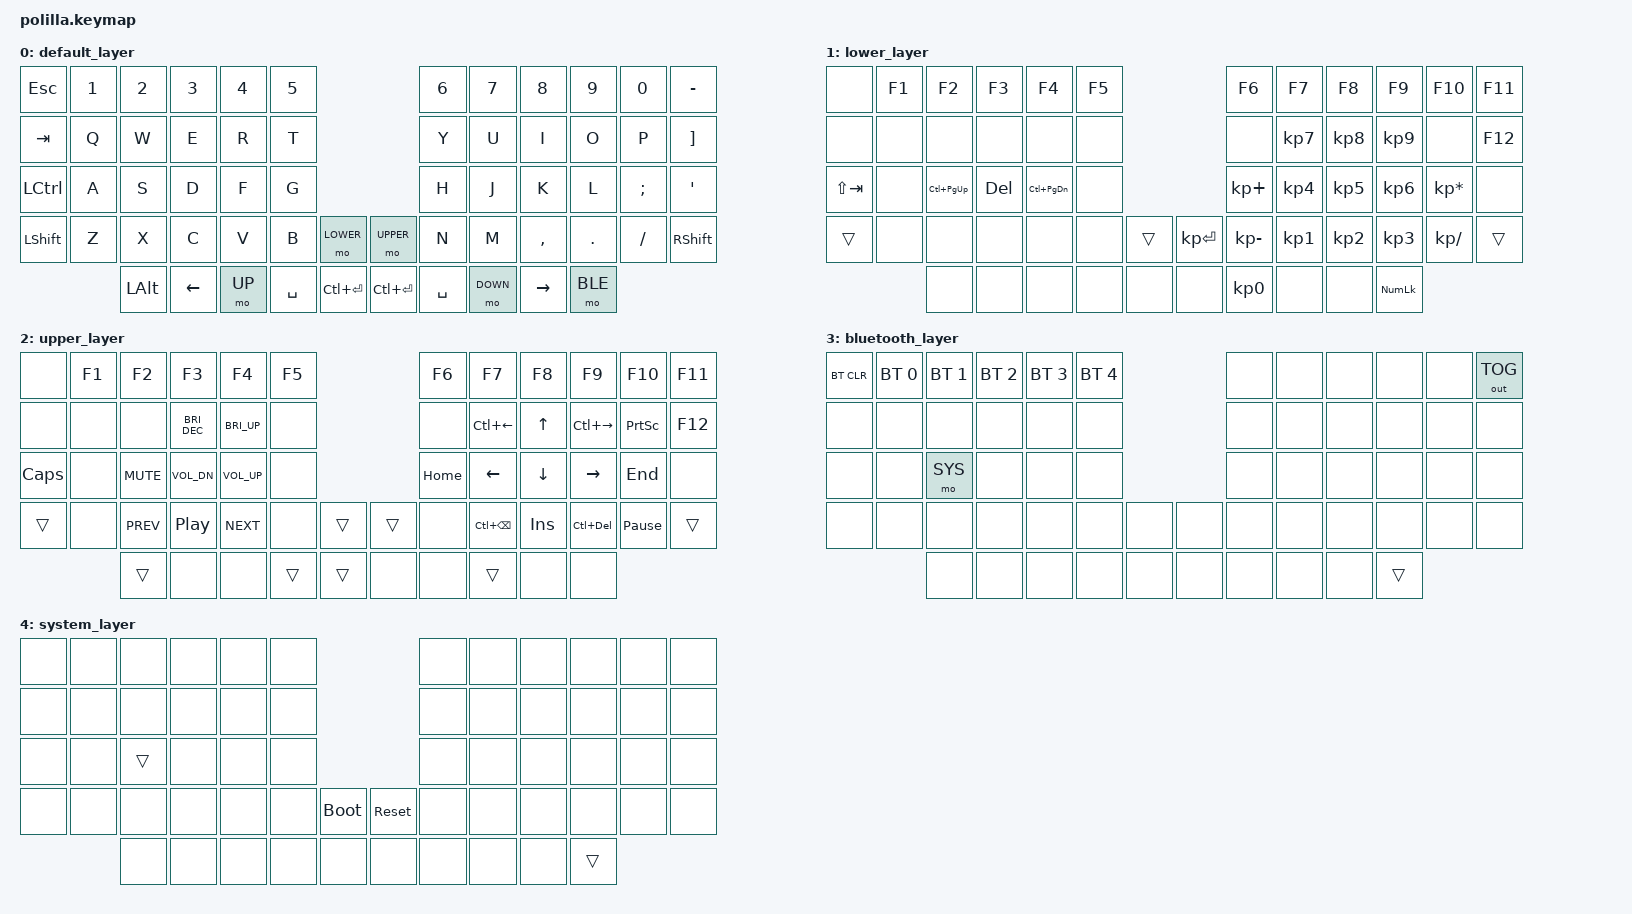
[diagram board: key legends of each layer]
/*
 * Polilla board configuration
 *
 * Copyright (c) 2020 elagil
 * SPDX-License-Identifier: MIT
 */

#include <behaviors.dtsi>
#include <dt-bindings/zmk/keys.h>
#include <dt-bindings/zmk/bt.h>
#include <dt-bindings/zmk/outputs.h>

#define LOWER 1
#define UPPER 2
#define BLE 3
#define SYS 4

/ {
    keymap {
        compatible = "zmk,keymap";

        default_layer {
// ,-----------------------------------,                  ,-----------------------------------,
// | ESC |  1  |  2  |  3  |  4  |  5  |                  |  6  |  7  |  8  |  9  |  0  |  -  |
// | TAB |  Q  |  W  |  E  |  R  |  T  |                  |  Y  |  U  |  I  |  O  |  P  |  ]  |
// | LCTL|  A  |  S  |  D  |  F  |  G  |-------,  ,-------|  H  |  J  |  K  |  L  |  ;  |  '  |
// |LSHFT|  Z  |  X  |  C  |  V  |  B  | LOWER |  |UPPER  |  N  |  M  |  ,  |  .  |  /  |RSHFT|
// '-----------|  LA | LEFT|  UP | SPC |LC(RET)|  |LC(RET)| SPC |DOWN |RIGHT| BLE |-----------'
//             '-------------------------------'  '-------------------------------'
            bindings = <
&kp ESC     &kp N1      &kp N2      &kp N3      &kp N4      &kp N5                              &kp N6      &kp N7      &kp N8      &kp N9      &kp N0      &kp MINUS
&kp TAB     &kp Q       &kp W       &kp E       &kp R       &kp T                               &kp Y       &kp U       &kp I       &kp O       &kp P       &kp RBKT
&kp LCTRL   &kp A       &kp S       &kp D       &kp F       &kp G                               &kp H       &kp J       &kp K       &kp L       &kp SEMI    &kp SQT
&kp LSHFT   &kp Z       &kp X       &kp C       &kp V       &kp B       &mo LOWER   &mo UPPER	&kp N   	   &kp M       &kp COMMA   &kp DOT     &kp FSLH    &kp RSHFT
                        &kp LALT    &kp LEFT    &mo UP      &kp SPACE   &kp LC(RET) &kp LC(RET) &kp SPACE   &mo DOWN    &kp RIGHT  	&mo BLE
            >;
        };

        lower_layer {
// ,-----------------------------------,              ,-----------------------------------,
// | --- | F1  | F2  | F3  | F4  | F5  |              |  F6 |  F7 |  F8 |  F9 | F10 | F11 |
// | --- | --- | --- | --- | --- | --- |              | --- |  7  |  8  |  9  | --- | F12 |
// |S-TAB| --- |PRETB| DEL |NXTTB| --- |-----,  ,-----|  +  |  4  |  5  |  6  |  *  | --- |
// |  T  | --- | --- | --- | --- | --- |  T  |  |KPENT|  -  |  1  |  2  |  3  |  /  |  T  |
// '-----------| --- | --- | --- | --- | --- |  | --- |  0  | --- | --- | NLK |-----------'
//             '-----------------------------'  '-----------------------------'
            bindings = < 
&none		&kp F1     	&kp F2      &kp F3      &kp F4      &kp F5                               &kp F6       &kp F7      &kp F8      &kp F9      &kp F10         &kp F11
&none		&none 		&none 		&none 	 	&none 		&none                   			    &none        &kp KP_N7   &kp KP_N8   &kp KP_N9   &none           &kp F12
&kp LS(TAB) &none    &kp LC(PG_UP) &kp DEL   &kp LC(PG_DN) &none                           	 &kp KP_PLUS  &kp KP_N4   &kp KP_N5   &kp KP_N6   &kp KP_MULTIPLY &none
&trans   	&none    &none       &none       &none      &none       &trans 		&kp KP_ENTER &kp KP_MINUS &kp KP_N1   &kp KP_N2   &kp KP_N3   &kp KP_DIVIDE   &trans
                     &none  		&none  		&none      &none      	&none      	&none        &kp KP_N0    &none       &none       &kp KP_NLCK
            >;
        };

        upper_layer {
// ,-----------------------------------,              ,-----------------------------------,
// | --- |  F1 |  F2 |  F3 |  F4 |  F5 |              |  F6 |  F7 |  F8 |  F9 | F10 | F11 |
// | --- | --- | --- | BRID| BRIU| --- |              | --- | PREV|  UP | NEXT| PRT | F12 |
// | --- | --- | MUTE| VOLD| VOLU| --- |-----,  ,-----| HOME| LEFT| DOWN|RIGHT| END | --- |
// |  T  | --- | PREV| PLAY| NEXT| --- |  T  |  |  T  | --- | DELP| INS | DELN|PAUSE|  T  |
// '-----------|  T  | --- | --- |  T  |  T  |  | --- | --- |  T  | --- | --- |-----------'
//             '-----------------------------'  '-----------------------------'
            bindings = <
&none		&kp F1     	&kp F2        &kp F3       &kp F4       &kp F5                             &kp F6      &kp F7       &kp F8      &kp F9        &kp F10     &kp F11
&none   	&none  		&none        &kp C_BRI_DEC &kp C_BRI_UP &none                     			&none       &kp LC(LEFT) &kp UP      &kp LC(RIGHT) &kp PSCRN   &kp F12
&kp CAPS &none       &kp C_MUTE    &kp C_VOL_DN &kp C_VOL_UP &none                           	&kp HOME    &kp LEFT     &kp DOWN    &kp RIGHT     &kp END     &none
&trans   &none       &kp C_PREV    &kp C_PP     &kp C_NEXT   &none     	&trans      &trans      &none       &kp LC(BSPC) &kp INS    &kp LC(DEL) &kp PAUSE_BREAK &trans
                        &trans      &none       &none     	&trans      &trans      &none       &none       &trans       &none       &none
            >;
        };

        bluetooth_layer {
// ,-----------------------------------,              ,-----------------------------------,
// |BTCLR| BT1 | BT2 | BT3 | BT4 | BT5 |              | --- | --- | --- | --- | --- | TOG |
// | --- | --- | --- | --- | --- | --- |              | --- | --- | --- | --- | --- | --- |
// | --- | --- | SYS | --- | --- | --- |-----,  ,-----| --- | --- | --- | --- | --- | --- |
// | --- | --- | --- | --- | --- | --- | --- |  | --- | --- | --- | --- | --- | --- | --- |
// '-----------| --- | --- | --- | --- | --- |  | --- | --- | --- | --- |  T  |-----------'
//             '-----------------------------'  '-----------------------------'
            bindings = <
&bt BT_CLR	&bt BT_SEL 0 &bt BT_SEL 1 &bt BT_SEL 2 &bt BT_SEL 3 &bt BT_SEL 4                    &none      	&none      	&none      	&none      	&none     	&out OUT_TOG
&none		&none 		&none 		&none 		&none 		&none                    			   &none       &none 		&none     	&none 		&none  		&none
&none    &none       &mo SYS		&none  		&none		   &none                            	&none    	&none    	&none    	&none   	   &none     	&none
&none   	&none       &none 		&none 		&none 		&none     	&none 		&none      	&none       &none 		&none    	&none 		&none    	&none
                     &none      	&none       &none      	&none      	&none      	&none       &none       &none      	&none      	&trans
            >;
        };

        system_layer {
// ,-----------------------------------,              ,-----------------------------------,
// | --- | --- | --- | --- | --- | --- |              | --- | --- | --- | --- | --- | --- |
// | --- | --- | --- | --- | --- | --- |              | --- | --- | --- | --- | --- | --- |
// | --- | --- |  T  | --- | --- | --- |-----,  ,-----| --- | --- | --- | --- | --- | --- |
// | --- | --- | --- | --- | --- | --- |BOOT |  | RST | --- | --- | --- | --- | --- | --- |
// '-----------| --- | --- | --- | --- | --- |  | --- | --- | --- | --- |  T  |-----------'
//             '-----------------------------'  '-----------------------------'
            bindings = <
&none		&none 		&none 		&none 		&none 		&none	                    		      &none      	&none      	&none      	&none      	&none     	&none
&none		&none 		&none 		&none 		&none 		&none                    			   &none       &none 		&none     	&none 		&none  		&none
&none    &none       &trans  	   &none    	&none		   &none                            	&none    	&none    	&none    	&none   	   &none     	&none
&none   	&none       &none 		&none 		&none 		&none     	&bootloader &sys_reset  &none       &none 		&none    	&none 		&none    	&none
                     &none      	&none       &none      	&none      	&none      	&none       &none       &none      	&none      	&trans
            >;
        };
    };
};
